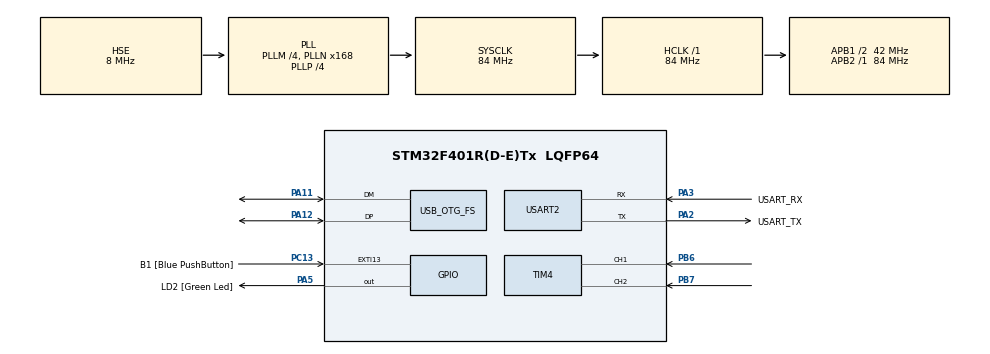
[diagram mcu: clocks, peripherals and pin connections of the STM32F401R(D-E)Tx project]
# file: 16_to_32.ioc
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Mcu.Family=STM32F4
Mcu.Name=STM32F401R(D-E)Tx
Mcu.Package=LQFP64
NVIC.OTG_FS_IRQn=true\:0\:0\:false\:false\:true\:false\:true
NVIC.PriorityGroup=NVIC_PRIORITYGROUP_0
PA11.Mode=Device_Only
PA11.Signal=USB_OTG_FS_DM
PA12.Mode=Device_Only
PA12.Signal=USB_OTG_FS_DP
PA13.GPIO_Label=TMS
PA13.Mode=Serial_Wire
PA13.Signal=SYS_JTMS-SWDIO
PA14.GPIO_Label=TCK
PA14.Mode=Serial_Wire
PA14.Signal=SYS_JTCK-SWCLK
PA2.GPIO_Label=USART_TX
PA2.GPIO_Mode=GPIO_MODE_AF_PP
PA2.GPIO_PuPd=GPIO_NOPULL
PA2.GPIO_Speed=GPIO_SPEED_FREQ_LOW
PA2.Mode=Asynchronous
PA2.Signal=USART2_TX
PA3.GPIO_Label=USART_RX
PA3.GPIO_Mode=GPIO_MODE_AF_PP
PA3.GPIO_PuPd=GPIO_NOPULL
PA3.GPIO_Speed=GPIO_SPEED_FREQ_LOW
PA3.Mode=Asynchronous
PA3.Signal=USART2_RX
PA5.GPIO_Label=LD2 [Green Led]
PA5.GPIO_Mode=GPIO_MODE_OUTPUT_PP
PA5.GPIO_PuPd=GPIO_NOPULL
PA5.GPIO_Speed=GPIO_SPEED_FREQ_LOW
PA5.Signal=GPIO_Output
PB3.GPIO_Label=SWO
PB3.Signal=SYS_JTDO-SWO
PB6.GPIO_PuPd=GPIO_PULLUP
PB6.Signal=S_TIM4_CH1
PB7.GPIO_PuPd=GPIO_PULLUP
PB7.Signal=S_TIM4_CH2
PC13-ANTI_TAMP.GPIO_Label=B1 [Blue PushButton]
PC13-ANTI_TAMP.GPIO_ModeDefaultEXTI=GPIO_MODE_IT_FALLING
PC13-ANTI_TAMP.GPIO_PuPd=GPIO_NOPULL
PC13-ANTI_TAMP.Signal=GPXTI13
PC14-OSC32_IN.Mode=LSE-External-Oscillator
PC14-OSC32_IN.Signal=RCC_OSC32_IN
PC15-OSC32_OUT.Mode=LSE-External-Oscillator
PC15-OSC32_OUT.Signal=RCC_OSC32_OUT
PH0\ -\ OSC_IN.Mode=HSE-External-Clock-Source
PH0\ -\ OSC_IN.Signal=RCC_OSC_IN
PH1\ -\ OSC_OUT.Mode=HSE-External-Clock-Source
PH1\ -\ OSC_OUT.Signal=RCC_OSC_OUT
ProjectManager.HeapSize=0x200
ProjectManager.StackSize=0x400
ProjectManager.TargetToolchain=EWARM V8.32
RCC.48MHZClocksFreq_Value=48000000
RCC.AHBFreq_Value=84000000
RCC.APB1CLKDivider=RCC_HCLK_DIV2
RCC.APB1Freq_Value=42000000
RCC.APB1TimFreq_Value=84000000
RCC.APB2Freq_Value=84000000
RCC.APB2TimFreq_Value=84000000
RCC.CortexFreq_Value=84000000
RCC.HCLKFreq_Value=84000000
RCC.HSE_VALUE=8000000
RCC.HSI_VALUE=16000000
RCC.PLLM=4
RCC.PLLN=168
RCC.PLLP=RCC_PLLP_DIV4
RCC.PLLQ=7
RCC.SYSCLKFreq_VALUE=84000000
RCC.SYSCLKSource=RCC_SYSCLKSOURCE_PLLCLK
RCC.VCOOutputFreq_Value=336000000
SH.S_TIM4_CH1.0=TIM4_CH1,Encoder_Interface
SH.S_TIM4_CH2.0=TIM4_CH2,Encoder_Interface
TIM4.EncoderMode=TIM_ENCODERMODE_TI12
USART2.VirtualMode=VM_ASYNC
USB_DEVICE.CLASS_NAME_FS=CDC
USB_DEVICE.VirtualMode-CDC_FS=Cdc
USB_DEVICE.VirtualModeFS=Cdc_FS
USB_OTG_FS.VirtualMode=Device_Only
VP_USB_DEVICE_VS_USB_DEVICE_CDC_FS.Mode=CDC_FS
board=NUCLEO-F401RE

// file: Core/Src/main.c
/* USER CODE BEGIN Header */
/**
  ******************************************************************************
  * @file           : main.c
  * @brief          : Main program body
  ******************************************************************************
  * @attention
  *
  * <h2><center>&copy; Copyright (c) 2022 STMicroelectronics.
  * All rights reserved.</center></h2>
  *
  * This software component is licensed by ST under BSD 3-Clause license,
  * the "License"; You may not use this file except in compliance with the
  * License. You may obtain a copy of the License at:
  *                        opensource.org/licenses/BSD-3-Clause
  *
  ******************************************************************************
  */
/* USER CODE END Header */
#include "main.h"
#include "usb_device.h"

/* USER CODE BEGIN Includes */
#include "usbd_cdc_if.h"
/* USER CODE END Includes */

TIM_HandleTypeDef htim4;

UART_HandleTypeDef huart2;

/* USER CODE BEGIN PV */
char TX_Buff[11] = {0};
signed short count = 0;
int res = 0;
int multipler = 0;
/* USER CODE END PV */

void SystemClock_Config(void);
static void MX_GPIO_Init(void);
static void MX_USART2_UART_Init(void);
static void MX_TIM4_Init(void);

/* USER CODE BEGIN 0 */
void transmit()
{
  while(CDC_Transmit_FS((uint8_t*)TX_Buff, strlen(TX_Buff)) == USBD_BUSY);
  while(CDC_Transmit_FS("_", 1) == USBD_BUSY);
  while(CDC_Transmit_FS((uint8_t*)TX_Buff, strlen(TX_Buff)) == USBD_BUSY);
  while(CDC_Transmit_FS("\r", 1) == USBD_BUSY);
  while(CDC_Transmit_FS("\n", 1) == USBD_BUSY);
}
/* USER CODE END 0 */

int main(void)
{

  /* MCU Configuration--------------------------------------------------------*/

  /* Reset of all peripherals, Initializes the Flash interface and the Systick. */
  HAL_Init();

  /* Configure the system clock */
  SystemClock_Config();

  /* Initialize all configured peripherals */
  MX_GPIO_Init();
  MX_USART2_UART_Init();
  MX_TIM4_Init();
  MX_USB_DEVICE_Init();
  /* USER CODE BEGIN 2 */
  HAL_TIM_Encoder_Start(&htim4, TIM_CHANNEL_1);
  /* USER CODE END 2 */

  /* Infinite loop */
  /* USER CODE BEGIN WHILE */
  while (1)
  {
   count = __HAL_TIM_GET_COUNTER(&htim4);
   if (count > 30999)
   {
     multipler += 31000;
     TIM4->CNT = 0;
     count = 0;
   }
   else if (count < -30999)
   {
     multipler -= 31000;
     TIM4->CNT = 0;
     count = 0;
   }
   res = multipler + count;
   sprintf(TX_Buff, "%d", res);
   transmit();
    /* USER CODE END WHILE */

  }
}

void SystemClock_Config(void)
{
  RCC_OscInitTypeDef RCC_OscInitStruct = {0};
  RCC_ClkInitTypeDef RCC_ClkInitStruct = {0};

  /** Configure the main internal regulator output voltage
  */
  __HAL_RCC_PWR_CLK_ENABLE();
  __HAL_PWR_VOLTAGESCALING_CONFIG(PWR_REGULATOR_VOLTAGE_SCALE2);
  /** Initializes the RCC Oscillators according to the specified parameters
  * in the RCC_OscInitTypeDef structure.
  */
  RCC_OscInitStruct.OscillatorType = RCC_OSCILLATORTYPE_HSE;
  RCC_OscInitStruct.HSEState = RCC_HSE_BYPASS;
  RCC_OscInitStruct.PLL.PLLState = RCC_PLL_ON;
  RCC_OscInitStruct.PLL.PLLSource = RCC_PLLSOURCE_HSE;
  RCC_OscInitStruct.PLL.PLLM = 4;
  RCC_OscInitStruct.PLL.PLLN = 168;
  RCC_OscInitStruct.PLL.PLLP = RCC_PLLP_DIV4;
  RCC_OscInitStruct.PLL.PLLQ = 7;
  if (HAL_RCC_OscConfig(&RCC_OscInitStruct) != HAL_OK)
  {
    Error_Handler();
  }
  /** Initializes the CPU, AHB and APB buses clocks
  */
  RCC_ClkInitStruct.ClockType = RCC_CLOCKTYPE_HCLK|RCC_CLOCKTYPE_SYSCLK
                              |RCC_CLOCKTYPE_PCLK1|RCC_CLOCKTYPE_PCLK2;
  RCC_ClkInitStruct.SYSCLKSource = RCC_SYSCLKSOURCE_PLLCLK;
  RCC_ClkInitStruct.AHBCLKDivider = RCC_SYSCLK_DIV1;
  RCC_ClkInitStruct.APB1CLKDivider = RCC_HCLK_DIV2;
  RCC_ClkInitStruct.APB2CLKDivider = RCC_HCLK_DIV1;

  if (HAL_RCC_ClockConfig(&RCC_ClkInitStruct, FLASH_LATENCY_2) != HAL_OK)
  {
    Error_Handler();
  }
}

static void MX_TIM4_Init(void)
{

  TIM_Encoder_InitTypeDef sConfig = {0};
  TIM_MasterConfigTypeDef sMasterConfig = {0};

  htim4.Instance = TIM4;
  htim4.Init.Prescaler = 0;
  htim4.Init.CounterMode = TIM_COUNTERMODE_UP;
  htim4.Init.Period = 65535;
  htim4.Init.ClockDivision = TIM_CLOCKDIVISION_DIV1;
  htim4.Init.AutoReloadPreload = TIM_AUTORELOAD_PRELOAD_DISABLE;
  sConfig.EncoderMode = TIM_ENCODERMODE_TI1;
  sConfig.IC1Polarity = TIM_ICPOLARITY_RISING;
  sConfig.IC1Selection = TIM_ICSELECTION_DIRECTTI;
  sConfig.IC1Prescaler = TIM_ICPSC_DIV1;
  sConfig.IC1Filter = 0;
  sConfig.IC2Polarity = TIM_ICPOLARITY_RISING;
  sConfig.IC2Selection = TIM_ICSELECTION_DIRECTTI;
  sConfig.IC2Prescaler = TIM_ICPSC_DIV1;
  sConfig.IC2Filter = 0;
  if (HAL_TIM_Encoder_Init(&htim4, &sConfig) != HAL_OK)
  {
    Error_Handler();
  }
  sMasterConfig.MasterOutputTrigger = TIM_TRGO_RESET;
  sMasterConfig.MasterSlaveMode = TIM_MASTERSLAVEMODE_DISABLE;
  if (HAL_TIMEx_MasterConfigSynchronization(&htim4, &sMasterConfig) != HAL_OK)
  {
    Error_Handler();
  }

}

static void MX_USART2_UART_Init(void)
{

  huart2.Instance = USART2;
  huart2.Init.BaudRate = 115200;
  huart2.Init.WordLength = UART_WORDLENGTH_8B;
  huart2.Init.StopBits = UART_STOPBITS_1;
  huart2.Init.Parity = UART_PARITY_NONE;
  huart2.Init.Mode = UART_MODE_TX_RX;
  huart2.Init.HwFlowCtl = UART_HWCONTROL_NONE;
  huart2.Init.OverSampling = UART_OVERSAMPLING_16;
  if (HAL_UART_Init(&huart2) != HAL_OK)
  {
    Error_Handler();
  }

}

static void MX_GPIO_Init(void)
{
  GPIO_InitTypeDef GPIO_InitStruct = {0};

  /* GPIO Ports Clock Enable */
  __HAL_RCC_GPIOC_CLK_ENABLE();
  __HAL_RCC_GPIOH_CLK_ENABLE();
  __HAL_RCC_GPIOA_CLK_ENABLE();
  __HAL_RCC_GPIOB_CLK_ENABLE();

  /*Configure GPIO pin Output Level */
  HAL_GPIO_WritePin(LD2_GPIO_Port, LD2_Pin, GPIO_PIN_RESET);

  /*Configure GPIO pin : B1_Pin */
  GPIO_InitStruct.Pin = B1_Pin;
  GPIO_InitStruct.Mode = GPIO_MODE_IT_FALLING;
  GPIO_InitStruct.Pull = GPIO_NOPULL;
  HAL_GPIO_Init(B1_GPIO_Port, &GPIO_InitStruct);

  /*Configure GPIO pin : LD2_Pin */
  GPIO_InitStruct.Pin = LD2_Pin;
  GPIO_InitStruct.Mode = GPIO_MODE_OUTPUT_PP;
  GPIO_InitStruct.Pull = GPIO_NOPULL;
  GPIO_InitStruct.Speed = GPIO_SPEED_FREQ_LOW;
  HAL_GPIO_Init(LD2_GPIO_Port, &GPIO_InitStruct);

}

void Error_Handler(void)
{
  __disable_irq();
  while (1)
  {
  }
}

/************************ (C) COPYRIGHT STMicroelectronics *****END OF FILE****/
